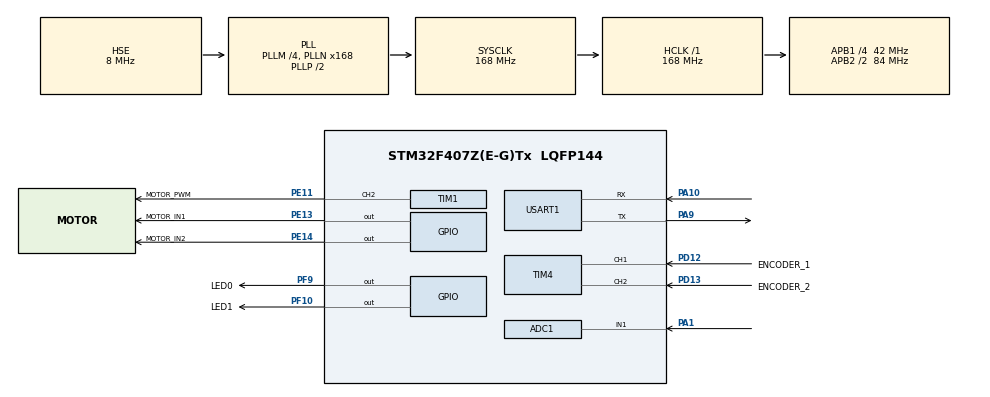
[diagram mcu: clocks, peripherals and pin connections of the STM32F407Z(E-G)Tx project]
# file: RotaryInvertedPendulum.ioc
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ADC1.Channel-2\#ChannelRegularConversion=ADC_CHANNEL_1
ADC1.NbrOfConversionFlag=1
ADC1.Rank-2\#ChannelRegularConversion=1
ADC1.SamplingTime-2\#ChannelRegularConversion=ADC_SAMPLETIME_112CYCLES
ADC1.master=1
Mcu.Family=STM32F4
Mcu.Name=STM32F407Z(E-G)Tx
Mcu.Package=LQFP144
NVIC.PriorityGroup=NVIC_PRIORITYGROUP_4
NVIC.TIM8_TRG_COM_TIM14_IRQn=true\:0\:0\:false\:false\:true\:true\:true
NVIC.TIM8_UP_TIM13_IRQn=true\:0\:0\:false\:false\:true\:true\:true
PA1.Signal=ADCx_IN1
PA10.Mode=Asynchronous
PA10.Signal=USART1_RX
PA9.Mode=Asynchronous
PA9.Signal=USART1_TX
PD12.GPIO_Label=ENCODER_1
PD12.Signal=S_TIM4_CH1
PD13.GPIO_Label=ENCODER_2
PD13.Signal=S_TIM4_CH2
PE11.GPIO_Label=MOTOR_PWM
PE11.Signal=S_TIM1_CH2
PE13.GPIO_Label=MOTOR_IN1
PE13.GPIO_Speed=GPIO_SPEED_FREQ_VERY_HIGH
PE13.Signal=GPIO_Output
PE14.GPIO_Label=MOTOR_IN2
PE14.GPIO_Speed=GPIO_SPEED_FREQ_VERY_HIGH
PE14.Signal=GPIO_Output
PF10.GPIO_Label=LED1
PF10.Signal=GPIO_Output
PF9.GPIO_Label=LED0
PF9.Signal=GPIO_Output
PH0-OSC_IN.Mode=HSE-External-Oscillator
PH0-OSC_IN.Signal=RCC_OSC_IN
PH1-OSC_OUT.Mode=HSE-External-Oscillator
PH1-OSC_OUT.Signal=RCC_OSC_OUT
ProjectManager.HeapSize=0x200
ProjectManager.StackSize=0x400
ProjectManager.TargetToolchain=SW4STM32
RCC.48MHZClocksFreq_Value=84000000
RCC.AHBFreq_Value=168000000
RCC.APB1CLKDivider=RCC_HCLK_DIV4
RCC.APB1Freq_Value=42000000
RCC.APB1TimFreq_Value=84000000
RCC.APB2CLKDivider=RCC_HCLK_DIV2
RCC.APB2Freq_Value=84000000
RCC.APB2TimFreq_Value=168000000
RCC.CortexFreq_Value=168000000
RCC.HCLKFreq_Value=168000000
RCC.HSE_VALUE=8000000
RCC.HSI_VALUE=16000000
RCC.LSE_VALUE=32768
RCC.PLLM=4
RCC.PLLN=168
RCC.PLLSourceVirtual=RCC_PLLSOURCE_HSE
RCC.SYSCLKFreq_VALUE=168000000
RCC.SYSCLKSource=RCC_SYSCLKSOURCE_PLLCLK
RCC.VCOOutputFreq_Value=336000000
SH.ADCx_IN1.0=ADC1_IN1,IN1
SH.S_TIM1_CH2.0=TIM1_CH2,PWM Generation2 CH2
SH.S_TIM4_CH1.0=TIM4_CH1,Encoder_Interface
SH.S_TIM4_CH2.0=TIM4_CH2,Encoder_Interface
TIM1.Channel-PWM\ Generation2\ CH2=TIM_CHANNEL_2
TIM1.Period=2100-1
TIM1.Prescaler=8-1
TIM13.Period=4999
TIM13.Prescaler=83
USART1.VirtualMode=VM_ASYNC
VP_TIM13_VS_ClockSourceINT.Mode=Enable_Timer
VP_TIM14_VS_ClockSourceINT.Mode=Enable_Timer
VP_TIM1_VS_ClockSourceINT.Mode=Internal
board=custom

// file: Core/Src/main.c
/* USER CODE BEGIN Header */
/**
  ******************************************************************************
  * @file           : main.c
  * @brief          : Main program body
  ******************************************************************************
  * @attention
  *
  * <h2><center>&copy; Copyright (c) 2021 STMicroelectronics.
  * All rights reserved.</center></h2>
  *
  * This software component is licensed by ST under BSD 3-Clause license,
  * the "License"; You may not use this file except in compliance with the
  * License. You may obtain a copy of the License at:
  *                        opensource.org/licenses/BSD-3-Clause
  *
  ******************************************************************************
  */
/* USER CODE END Header */
#include "main.h"
#include "adc.h"
#include "tim.h"
#include "usart.h"
#include "gpio.h"

/* USER CODE BEGIN Includes */
#include "stdio.h"
#include "PID.h"
#include "motor.h"
#include "DataScope_DP.h"

/* USER CODE END Includes */

void SystemClock_Config(void);

/* USER CODE BEGIN PFP */
int __io_putchar(int ch) {
    uint8_t temp[1] = {ch};
    //HAL_UART_Transmit(&huart1, temp, 1, 0xff);
    return (ch);
}
/* USER CODE END PFP */

int main(void) {

    /* MCU Configuration--------------------------------------------------------*/

    /* Reset of all peripherals, Initializes the Flash interface and the Systick. */
    HAL_Init();

    /* Configure the system clock */
    SystemClock_Config();

    /* Initialize all configured peripherals */
    MX_GPIO_Init();
    MX_ADC1_Init();
    MX_TIM4_Init();
    MX_USART1_UART_Init();
    MX_TIM1_Init();
    MX_TIM13_Init();
    MX_TIM14_Init();
    /* USER CODE BEGIN 2 */
    printf("HelloWorld\r\n");

    HAL_TIM_PWM_Start(&htim1, TIM_CHANNEL_2);
//    SetMotorSpeed(1500);
//    HAL_Delay(200);
//    SetMotorSpeed(-1500);
//    HAL_Delay(400);
//    SetMotorSpeed(1500);
//    HAL_Delay(200);
//    SetMotorSpeed(-1500);
//    HAL_Delay(400);

    HAL_TIM_Base_Start_IT(&htim13);
//    HAL_TIM_Base_Start_IT(&htim14);

    HAL_TIM_Encoder_Start(&htim4, TIM_CHANNEL_ALL);

    __HAL_TIM_SET_COUNTER(&htim4, 32768);

    PID_Init(&Rp_A_PID, 26, 0, 40);
    PID_Init(&Rp_P_PID, 60, 0, 1200);//350 1300

    /* USER CODE END 2 */

    /* Infinite loop */
    /* USER CODE BEGIN WHILE */
#pragma clang diagnostic push
#pragma ide diagnostic ignored "EndlessLoop"
    while (1) {

        int Send_Count = DataScope_Data_Generate(3);
        HAL_UART_Transmit(&huart1, DataScope_OutPut_Buffer, Send_Count, 0xff);
        HAL_Delay(30);
//        uint32_t temp = GetADCValue(&hadc1);
//        int temp = __HAL_TIM_GET_COUNTER(&htim4);
//        printf("cnt:%d\r\n", temp);
//        HAL_Delay(100);
        /* USER CODE END WHILE */

        /* USER CODE BEGIN 3 */
    }
#pragma clang diagnostic pop
    /* USER CODE END 3 */
}

void SystemClock_Config(void) {
    RCC_OscInitTypeDef RCC_OscInitStruct = {0};
    RCC_ClkInitTypeDef RCC_ClkInitStruct = {0};

    /** Configure the main internal regulator output voltage
    */
    __HAL_RCC_PWR_CLK_ENABLE();
    __HAL_PWR_VOLTAGESCALING_CONFIG(PWR_REGULATOR_VOLTAGE_SCALE1);
    /** Initializes the RCC Oscillators according to the specified parameters
    * in the RCC_OscInitTypeDef structure.
    */
    RCC_OscInitStruct.OscillatorType = RCC_OSCILLATORTYPE_HSE;
    RCC_OscInitStruct.HSEState = RCC_HSE_ON;
    RCC_OscInitStruct.PLL.PLLState = RCC_PLL_ON;
    RCC_OscInitStruct.PLL.PLLSource = RCC_PLLSOURCE_HSE;
    RCC_OscInitStruct.PLL.PLLM = 4;
    RCC_OscInitStruct.PLL.PLLN = 168;
    RCC_OscInitStruct.PLL.PLLP = RCC_PLLP_DIV2;
    RCC_OscInitStruct.PLL.PLLQ = 4;
    if (HAL_RCC_OscConfig(&RCC_OscInitStruct) != HAL_OK) {
        Error_Handler();
    }
    /** Initializes the CPU, AHB and APB buses clocks
    */
    RCC_ClkInitStruct.ClockType = RCC_CLOCKTYPE_HCLK | RCC_CLOCKTYPE_SYSCLK
                                  | RCC_CLOCKTYPE_PCLK1 | RCC_CLOCKTYPE_PCLK2;
    RCC_ClkInitStruct.SYSCLKSource = RCC_SYSCLKSOURCE_PLLCLK;
    RCC_ClkInitStruct.AHBCLKDivider = RCC_SYSCLK_DIV1;
    RCC_ClkInitStruct.APB1CLKDivider = RCC_HCLK_DIV4;
    RCC_ClkInitStruct.APB2CLKDivider = RCC_HCLK_DIV2;

    if (HAL_RCC_ClockConfig(&RCC_ClkInitStruct, FLASH_LATENCY_5) != HAL_OK) {
        Error_Handler();
    }
}

void Error_Handler(void) {
    __disable_irq();
    while (1) {
    }
}

/************************ (C) COPYRIGHT STMicroelectronics *****END OF FILE****/
